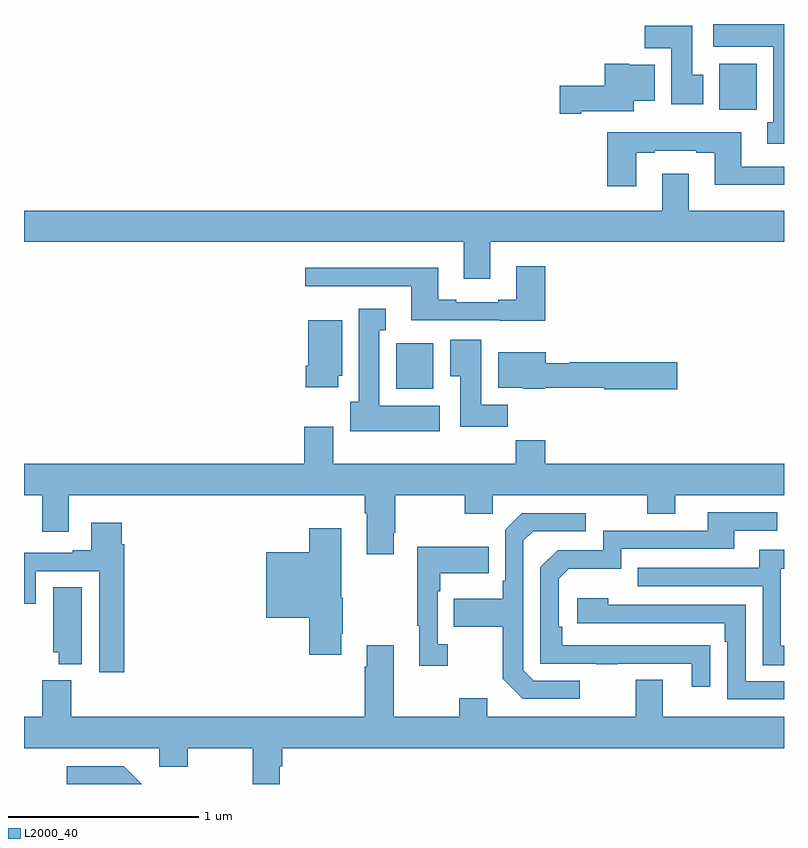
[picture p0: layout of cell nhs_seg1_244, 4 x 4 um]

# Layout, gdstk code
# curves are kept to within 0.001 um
import gdstk
lib = gdstk.Library(unit=1e-6, precision=1e-09)
def R(c, l, rs):  # rectangles x0, y0, x1, y1
    for r in rs: c.add(gdstk.rectangle(r[:2], r[2:], *l))
def P(c, l, *ps):  # polygons
    for p in ps: c.add(gdstk.Polygon(p, *l))
L2000_40 = (2000, 40)

nhs_seg1_244 = lib.new_cell('nhs_seg1_244')
R(nhs_seg1_244, L2000_40, [(124.958,564.278,125.155,564.52), (126.659,565.748,126.856,565.99)])
P(nhs_seg1_244, L2000_40, [(127,566.199),(126.627,566.199),(126.627,566.078),(126.944,566.078),(126.944,565.682),(126.911,565.682),(126.911,565.569),(127,565.569)],
  [(126.574,565.932),(126.517,565.932),(126.517,566.191),(126.268,566.191),(126.268,566.072),(126.407,566.072),(126.407,565.776),(126.574,565.776)],
  [(125.932,565.739),(126.208,565.739),(126.208,565.796),(126.319,565.796),(126.319,565.984),(126.186,565.984),(126.186,565.99),(126.056,565.99),(126.056,565.874),(125.82,565.874),(125.82,565.727),(125.932,565.727)],
  [(126.223,565.521),(126.319,565.521),(126.319,565.533),(126.539,565.533),(126.539,565.521),(126.635,565.521),(126.635,565.352),(127,565.352),(127,565.449),(126.775,565.449),(126.775,565.63),(126.071,565.63),(126.071,565.344),(126.223,565.344)],
  [(125.455,565.052),(127,565.052),(127,565.216),(126.499,565.216),(126.499,565.411),(126.359,565.411),(126.359,565.216),(123,565.216),(123,565.052),(125.315,565.052),(125.315,564.858),(125.455,564.858)],
  [(125.744,564.925),(125.591,564.925),(125.591,564.748),(125.495,564.748),(125.495,564.735),(125.275,564.735),(125.275,564.748),(125.179,564.748),(125.179,564.916),(124.479,564.916),(124.479,564.819),(125.039,564.819),(125.039,564.639),(125.503,564.639),(125.503,564.638),(125.744,564.638)],
  [(125.188,564.19),(124.87,564.19),(124.87,564.587),(124.903,564.587),(124.903,564.7),(124.763,564.7),(124.763,564.21),(124.718,564.21),(124.718,564.056),(125.188,564.056)],
  [(124.654,564.348),(124.675,564.348),(124.675,564.64),(124.496,564.64),(124.496,564.4),(124.484,564.4),(124.484,564.288),(124.654,564.288)],
  [(125.546,564.196),(125.407,564.196),(125.407,564.538),(125.243,564.538),(125.243,564.344),(125.297,564.344),(125.297,564.078),(125.546,564.078)],
  [(126.439,564.419),(125.871,564.419),(125.871,564.413),(125.746,564.413),(125.746,564.472),(125.495,564.472),(125.495,564.284),(125.628,564.284),(125.628,564.278),(125.742,564.278),(125.742,564.284),(126.054,564.284),(126.054,564.277),(126.439,564.277)],
  [(124.945,563.521),(124.953,563.521),(124.953,563.72),(125.32,563.72),(125.32,563.621),(125.466,563.621),(125.466,563.72),(126.28,563.72),(126.28,563.621),(126.427,563.621),(126.427,563.72),(127,563.72),(127,563.884),(125.744,563.884),(125.744,564.008),(125.587,564.008),(125.587,563.884),(124.627,563.884),(124.627,564.079),(124.475,564.079),(124.475,563.884),(123,563.884),(123,563.72),(123.095,563.72),(123.095,563.526),(123.235,563.526),(123.235,563.72),(124.793,563.72),(124.793,563.624),(124.805,563.624),(124.805,563.409),(124.945,563.409)],
  [(126.611,562.928),(125.834,562.929),(125.834,563.026),(125.814,563.026),(125.814,563.28),(125.867,563.333),(126.144,563.333),(126.144,563.436),(126.739,563.436),(126.739,563.532),(126.964,563.532),(126.964,563.628),(126.599,563.628),(126.599,563.532),(126.048,563.532),(126.048,563.43),(125.808,563.43),(125.718,563.34),(125.718,562.833),(126.013,562.833),(126.013,562.828),(126.125,562.828),(126.125,562.833),(126.515,562.833),(126.515,562.71),(126.611,562.71)],
  [(125.926,562.743),(125.682,562.743),(125.628,562.797),(125.628,563.478),(125.679,563.529),(125.956,563.529),(125.956,563.625),(125.619,563.625),(125.532,563.538),(125.532,563.269),(125.52,563.269),(125.52,563.173),(125.263,563.173),(125.263,563.026),(125.52,563.026),(125.52,562.753),(125.625,562.647),(125.926,562.647)],
  [(123.527,563.462),(123.514,563.462),(123.514,563.575),(123.353,563.575),(123.353,563.428),(123.257,563.428),(123.257,563.415),(123,563.415),(123,563.148),(123.061,563.148),(123.061,563.319),(123.395,563.319),(123.395,562.788),(123.527,562.788)],
  [(124.669,562.99),(124.677,562.99),(124.677,563.179),(124.669,563.179),(124.669,563.545),(124.502,563.545),(124.502,563.419),(124.274,563.419),(124.274,563.075),(124.502,563.075),(124.502,562.878),(124.669,562.878)],
  [(125.23,562.934),(125.178,562.934),(125.178,563.213),(125.191,563.213),(125.191,563.309),(125.447,563.309),(125.447,563.449),(125.07,563.449),(125.07,563.033),(125.081,563.033),(125.081,562.821),(125.23,562.821)],
  [(127,562.926),(126.984,562.926),(126.984,563.331),(127,563.331),(127,563.431),(126.869,563.431),(126.869,563.337),(126.229,563.337),(126.229,563.241),(126.888,563.241),(126.888,562.825),(127,562.825)],
  [(123.304,563.234),(123.155,563.234),(123.155,562.893),(123.182,562.893),(123.182,562.829),(123.304,562.829)],
  [(127,562.74),(126.798,562.74),(126.798,563.142),(126.074,563.142),(126.074,563.176),(125.913,563.176),(125.913,563.046),(126.689,563.046),(126.689,562.949),(126.702,562.949),(126.702,562.644),(127,562.644)],
  [(124.345,562.292),(124.358,562.292),(124.358,562.388),(127,562.388),(127,562.552),(126.361,562.552),(126.361,562.747),(126.221,562.747),(126.221,562.552),(125.437,562.552),(125.437,562.651),(125.29,562.651),(125.29,562.552),(124.945,562.552),(124.945,562.93),(124.805,562.93),(124.805,562.817),(124.793,562.817),(124.793,562.552),(123.248,562.552),(123.248,562.744),(123.095,562.744),(123.095,562.552),(123,562.552),(123,562.388),(123.713,562.388),(123.713,562.289),(123.861,562.289),(123.861,562.388),(124.205,562.388),(124.205,562.199),(124.345,562.199)],
  [(123.525,562.293),(123.225,562.293),(123.225,562.199),(123.619,562.199)])

lib.write_gds('nhs_seg1_244.gds')
